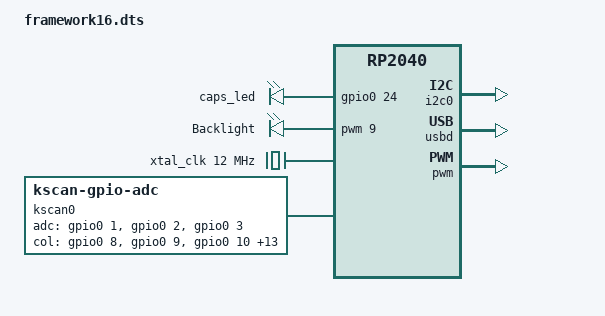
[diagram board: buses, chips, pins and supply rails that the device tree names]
/*
 * Copyright (c) 2025 The ZMK Contributors
 * SPDX-License-Identifier: MIT
 */

/dts-v1/;

#include <rpi_pico/rp2040.dtsi>
#include <dt-bindings/zmk/matrix_transform.h>
#include <zephyr/dt-bindings/pwm/pwm.h>
#include <zephyr/dt-bindings/i2c/i2c.h>
#include "framework16-pinctrl.dtsi"

#include <layouts/common/65percent/ansi.dtsi>

/ {
    chosen {
        zephyr,sram = &sram0;
        zephyr,flash = &flash0;
        zephyr,code-partition = &code_partition;
        zmk,kscan = &kscan0;
        zmk,physical-layout = &layout_65_ansi;
        zmk,backlight = &backlight_pwm;
    };

    aliases {
        led0 = &caps_led;
        pwm-led0 = &backlight_pwm;
    };


    leds {
        compatible = "gpio-leds";
        caps_led: led_0 {
            gpios = <&gpio0 24 GPIO_ACTIVE_HIGH>;
        };
    };

    backlight_pwm: pwmleds {
        compatible = "pwm-leds";
        status = "okay";
        pwm_led_0 {
            pwms = <&pwm 9 PWM_NSEC(1000) PWM_POLARITY_NORMAL>;
            label = "Backlight";
        };
    };


    xtal_clk: xtal-clk {
        compatible = "fixed-clock";
        clock-frequency = <12000000>;
        #clock-cells = <0>;
    };


    default_transform: keymap_transform_0 {
        compatible = "zmk,matrix-transform";
        columns = <16>;
        rows = <8>;
        /* TODO Map key matrix */
        map = <
          RC(0,0)
        >;
    };

    // Dummy keyscan to make it compile
    kscan0: kscan {
        compatible = "zmk,kscan-gpio-adc";
        wakeup-source;

        adc-gpios
                  = <&gpio0 1 GPIO_ACTIVE_HIGH>
                  , <&gpio0 2 GPIO_ACTIVE_HIGH>
                  , <&gpio0 3 GPIO_ACTIVE_HIGH>
                  ;
        // mux-enable = <&gpio0 4 GPIO_ACTIVE_HIGH>;

        col-gpios
                  = <&gpio0  8 GPIO_ACTIVE_HIGH>  // KSO0
                  , <&gpio0  9 GPIO_ACTIVE_HIGH>  // KSO1
                  , <&gpio0 10 GPIO_ACTIVE_HIGH>  // KSO2
                  , <&gpio0 11 GPIO_ACTIVE_HIGH>  // KSO3
                  , <&gpio0 12 GPIO_ACTIVE_HIGH>  // KSO4
                  , <&gpio0 13 GPIO_ACTIVE_HIGH>  // KSO5
                  , <&gpio0 14 GPIO_ACTIVE_HIGH>  // KSO6
                  , <&gpio0 15 GPIO_ACTIVE_HIGH>  // KSO7
                  , <&gpio0 21 GPIO_ACTIVE_HIGH>  // KSO8
                  , <&gpio0 20 GPIO_ACTIVE_HIGH>  // KSO9
                  , <&gpio0 19 GPIO_ACTIVE_HIGH>  // KSO10
                  , <&gpio0 18 GPIO_ACTIVE_HIGH>  // KSO11
                  , <&gpio0 17 GPIO_ACTIVE_HIGH>  // KSO12
                  , <&gpio0 16 GPIO_ACTIVE_HIGH>  // KSO13
                  , <&gpio0 23 GPIO_ACTIVE_HIGH>  // KSO14
                  , <&gpio0 22 GPIO_ACTIVE_HIGH>  // KSO15
                  ;
    };

    // TODO: Implement analog key scanning with SGM48751 MUX
    // kscan0: kscan {
    //     compatible = "TBD";
    //     mux-enable-gpio = <&gpio0 4 GPIO_ACTIVE_HIGH)>;
    //     row-mux-gpios
    //         = <&gpio0 1 GPIO_ACTIVE_HIGH)>
    //         , <&gpio0 2 GPIO_ACTIVE_HIGH)>
    //         , <&gpio0 3 GPIO_ACTIVE_HIGH)>
    //         ;
    //     col-gpios
    //         = <&gpio0 8  GPIO_ACTIVE_HIGH>
    //         , <&gpio0 9  GPIO_ACTIVE_HIGH>
    //         , <&gpio0 10 GPIO_ACTIVE_HIGH>
    //         , <&gpio0 11 GPIO_ACTIVE_HIGH>
    //         , <&gpio0 12 GPIO_ACTIVE_HIGH>
    //         , <&gpio0 13 GPIO_ACTIVE_HIGH>
    //         , <&gpio0 14 GPIO_ACTIVE_HIGH>
    //         , <&gpio0 15 GPIO_ACTIVE_HIGH>
    //         , <&gpio0 16 GPIO_ACTIVE_HIGH>
    //         , <&gpio0 17 GPIO_ACTIVE_HIGH>
    //         , <&gpio0 18 GPIO_ACTIVE_HIGH>
    //         , <&gpio0 19 GPIO_ACTIVE_HIGH>
    //         , <&gpio0 20 GPIO_ACTIVE_HIGH>
    //         , <&gpio0 21 GPIO_ACTIVE_HIGH>
    //         , <&gpio0 22 GPIO_ACTIVE_HIGH>
    //         , <&gpio0 23 GPIO_ACTIVE_HIGH>
    //         ;
    // };
};

&flash0 {
    reg = <0x10000000 DT_SIZE_M(16)>;

    partitions {
        compatible = "fixed-partitions";
        #address-cells = <1>;
        #size-cells = <1>;

        /* Reserved memory for the second stage bootloader */
        second_stage_bootloader: partition@0 {
            reg = <0x00000000 0x100>;
            read-only;
        };

        /*
         * Usable flash. Starts at 0x100, after the bootloader. The partition
         * size is 16MB minus the 0x100 bytes taken by the bootloader.
         */
        code_partition: partition@100 {
            reg = <0x100 (DT_SIZE_M(16) - 0x100)>;
            read-only;
        };
    };
};

&i2c0 {
    status = "okay";
    /* TODO: They're actually IS31FL3743A */
    /* Macropad has a single controller */
    led_ctrl1: is31fl3733@20 {
        status = "disabled";
        reg = <0x20>;
        compatible = "issi,is31fl3733";
        sdb-gpios = <&gpio0 2 GPIO_ACTIVE_HIGH>;
    };
    /* RGB Keyboard has a second controller */
    led_ctrl2: is31fl3733@23 {
        status = "disabled";
        reg = <0x23>;
        compatible = "issi,is31fl3733";
        sdb-gpios = <&gpio0 2 GPIO_ACTIVE_HIGH>;
    };
};


zephyr_udc0: &usbd {
    status = "okay";
};

&pwm {
    status = "okay";
    /* GPIO25 is connected to channel 4B */
    pinctrl-0 = <&pwm_ch4b_default>;
    pinctrl-names = "default";
    divider-int-0 = <255>;
};

&gpio0 {
    status = "okay";
};

&layout_65_ansi {
    transform = <&default_transform>;
};
